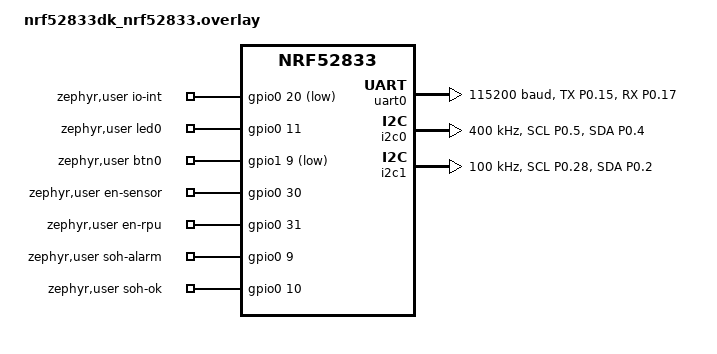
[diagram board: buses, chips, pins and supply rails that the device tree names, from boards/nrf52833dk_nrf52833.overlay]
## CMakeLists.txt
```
cmake_minimum_required(VERSION 3.20.0)
find_package(Zephyr REQUIRED HINTS $ENV{ZEPHYR_BASE})
project(sensor_board_fw)

zephyr_include_directories(include)

FILE(GLOB app_sources src/*.c)
target_sources(app PRIVATE ${app_sources})
```

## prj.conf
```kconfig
# Console / Logging
CONFIG_CONSOLE=y
CONFIG_UART_CONSOLE=y
CONFIG_PRINTK=y
CONFIG_LOG=y
CONFIG_SERIAL=y

# Zephyr Shell (UART 백엔드)
CONFIG_SHELL=n
CONFIG_SHELL_BACKEND_SERIAL=n
CONFIG_SHELL_STACK_SIZE=4096

# flash r/w
CONFIG_FLASH=y
CONFIG_FLASH_MAP=y
CONFIG_MPU_ALLOW_FLASH_WRITE=y
CONFIG_PM_DEVICE=y


CONFIG_LOG_MODE_DEFERRED=y
CONFIG_LOG_DEFAULT_LEVEL=3
CONFIG_LOG_RUNTIME_FILTERING=y
CONFIG_LOG_PROCESS_THREAD_STACK_SIZE=2048

# BLE (Broadcaster only, non-connectable)
CONFIG_BT=y
CONFIG_BT_EXT_ADV=y
CONFIG_BT_BROADCASTER=y
CONFIG_BT_CTLR_PHY_2M=y
CONFIG_BT_DEVICE_NAME="ARX-AT100"
# 확장 광고 데이터 최대 길이 설정 (mfg_data가 37바이트이므로 31바이트 이상 필요)
CONFIG_BT_CTLR_ADV_DATA_LEN_MAX=64

# 레거시 주변기기(Connectable Peripheral) 기능은 끈다
CONFIG_BT_PERIPHERAL=y
CONFIG_BT_CENTRAL=n
CONFIG_BT_CTLR_PHY_CODED=y
CONFIG_BT_CTLR_ADV_EXT=y


# CONFIG_BT_CTLR_TX_PWR_PLUS_4=y  (+4 dBm)
# CONFIG_BT_CTLR_TX_PWR_0=y       (0 dBm)
# CONFIG_BT_CTLR_TX_PWR_PLUS_8=y  (+8 dbm)
CONFIG_BT_CTLR_TX_PWR_PLUS_8=y  (+8 dbm)


# Timers / Work
CONFIG_SYSTEM_WORKQUEUE_STACK_SIZE=2048

# I2C / Sensor / ADC
CONFIG_I2C=y
CONFIG_ADC=y
CONFIG_ADC_NRFX_SAADC=y
CONFIG_NRFX_SAADC=y

# Zephyr 센서 서브시스템 활성화
CONFIG_SENSOR=y
# nRF5x MCU 내부 온도 센서 드라이버 활성화 (NCS v3.1.0 기준)
CONFIG_TEMP_NRF5=y
# float 형 출력을 위한 설정
CONFIG_CBPRINTF_FP_SUPPORT=y
CONFIG_CMSIS_DSP=y
CONFIG_CMSIS_DSP_TRANSFORM=y
CONFIG_CMSIS_DSP_COMPLEXMATH=y


# System OFF 진입 허용
CONFIG_PM=y
CONFIG_PM_DEVICE=y

# Watchdog
CONFIG_WATCHDOG=y
CONFIG_WDT_DISABLE_AT_BOOT=n
```

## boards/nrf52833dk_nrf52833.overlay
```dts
/ {
    aliases {
        i2c0 = &i2c0;
        uart0 = &uart0;
    };

    /* 콘솔 강제 지정 */
    chosen {
        zephyr,console = &uart0;
        zephyr,shell-uart = &uart0;
    };

    zephyr,user {
        io-int-gpios     = <&gpio0 20 GPIO_ACTIVE_LOW>;
        led0-gpios       = <&gpio0 11 GPIO_ACTIVE_HIGH>;
        btn0-gpios       = <&gpio1 9 GPIO_ACTIVE_LOW>;
        en-sensor-gpios  = <&gpio0 30 GPIO_ACTIVE_HIGH>;
        en-rpu-gpios     = <&gpio0 31 GPIO_ACTIVE_HIGH>;
        soh-alarm-gpios  = <&gpio0 9 GPIO_ACTIVE_HIGH>;
        soh-ok-gpios     = <&gpio0 10 GPIO_ACTIVE_HIGH>;
        ntc-ain = <1>; /* SAADC AIN1 = P0.03 */
    };
};

/* ===== pinctrl: 기존 보드 노드 제거 후, 새 노드로 지정 ===== */
&uart0 {
    status = "okay";
    current-speed = <115200>;
    /* HW 플로우컨트롤 사용 안 함 (CTS/RTS 비활성화) */
    hw-flow-control;
    /delete-property/ hw-flow-control; /* <- 위 줄을 지우고 이 줄로 '없음' 상태를 확정 */

    /* 기존 보드의 pinctrl 참조 제거 */
    /delete-property/ pinctrl-0;
    /delete-property/ pinctrl-1;
    /delete-property/ pinctrl-names;

    pinctrl-0 = <&uart0_my_default>;
    pinctrl-1 = <&uart0_my_sleep>;
    pinctrl-names = "default", "sleep";
};

&pinctrl {
    uart0_my_default: uart0_my_default {
        group1 {
            psels = <NRF_PSEL(UART_TX, 0, 15)>,   /* TX=P0.15 */
                    <NRF_PSEL(UART_RX, 0, 17)>;   /* RX=P0.17 */
            bias-pull-up;                         /* RX 약풀업 */
        };
    };

    uart0_my_sleep: uart0_my_sleep {
        group1 {
            psels = <NRF_PSEL(UART_TX, 0, 15)>,
                    <NRF_PSEL(UART_RX, 0, 17)>;
            low-power-enable;
        };
    };

    i2c0_default: i2c0_default {
        group1 {
            psels = <NRF_PSEL(TWIM_SCL, 0, 5)>,   /* SCL=P0.05 */
                    <NRF_PSEL(TWIM_SDA, 0, 4)>;   /* SDA=P0.04 */
            bias-pull-up;
        };
    };

    i2c0_sleep: i2c0_sleep {
        group1 {
            psels = <NRF_PSEL(TWIM_SCL, 0, 5)>,
                    <NRF_PSEL(TWIM_SDA, 0, 4)>;
            low-power-enable;
            bias-disable;
        };
    };
	
	i2c1_default: i2c1_default {
        group1 {
            // ★ 여기는 실제 회로에서 LTC3337 으로 나간 SCL/SDA 핀 번호로 맞춰야 함
            psels = <NRF_PSEL(TWIM_SCL, 0, 28)
                     NRF_PSEL(TWIM_SDA, 0, 2)>;
        };
    };

    i2c1_sleep: i2c1_sleep {
        group1 {
            psels = <NRF_PSEL(TWIM_SCL, 0, 28)
                     NRF_PSEL(TWIM_SDA, 0, 2)>;
            low-power-enable;
        };
    };	
};

&i2c0 {
    status = "okay";
    clock-frequency = <I2C_BITRATE_FAST>; /* 400 kHz */
    pinctrl-0 = <&i2c0_default>;
    pinctrl-1 = <&i2c0_sleep>;
    pinctrl-names = "default", "sleep";
};

&i2c1 {
    status = "okay";
    clock-frequency = <I2C_BITRATE_STANDARD>;

    pinctrl-0 = <&i2c1_default>;
    pinctrl-1 = <&i2c1_sleep>;
    pinctrl-names = "default", "sleep";
};



/* GPIO 컨트롤러 켜기 */
&gpio0 { status = "okay"; };
&gpio1 { status = "okay"; };
```

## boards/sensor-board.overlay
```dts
/ {
    aliases {
        i2c0 = &i2c0;
        uart0 = &uart0;
    };

    /* 콘솔 강제 지정 */
    chosen {
        zephyr,console = &uart0;
        zephyr,shell-uart = &uart0;
    };

    zephyr,user {
        io-int-gpios     = <&gpio0 20 GPIO_ACTIVE_LOW>;
        led0-gpios       = <&gpio0 11 GPIO_ACTIVE_HIGH>;
        btn0-gpios       = <&gpio1 9 GPIO_ACTIVE_LOW>;
        en-sensor-gpios  = <&gpio0 30 GPIO_ACTIVE_HIGH>;
        en-rpu-gpios     = <&gpio0 31 GPIO_ACTIVE_HIGH>;
        soh-alarm-gpios  = <&gpio0 9 GPIO_ACTIVE_HIGH>;
        soh-ok-gpios     = <&gpio0 10 GPIO_ACTIVE_HIGH>;
        ntc-ain = <1>; /* SAADC AIN1 = P0.03 */
    };
};

/* ===== pinctrl: 기존 보드 노드 제거 후, 새 노드로 지정 ===== */
&uart0 {
    status = "okay";
    current-speed = <115200>;
    /* HW 플로우컨트롤 사용 안 함 (CTS/RTS 비활성화) */
    hw-flow-control;
    /delete-property/ hw-flow-control; /* <- 위 줄을 지우고 이 줄로 '없음' 상태를 확정 */

    /* 기존 보드의 pinctrl 참조 제거 */
    /delete-property/ pinctrl-0;
    /delete-property/ pinctrl-1;
    /delete-property/ pinctrl-names;

    pinctrl-0 = <&uart0_my_default>;
    pinctrl-1 = <&uart0_my_sleep>;
    pinctrl-names = "default", "sleep";
};

&pinctrl {
    uart0_my_default: uart0_my_default {
        group1 {
            psels = <NRF_PSEL(UART_TX, 0, 15)>,   /* TX=P0.15 */
                    <NRF_PSEL(UART_RX, 0, 17)>;   /* RX=P0.17 */
            bias-pull-up;                         /* RX 약풀업 */
        };
    };

    uart0_my_sleep: uart0_my_sleep {
        group1 {
            psels = <NRF_PSEL(UART_TX, 0, 15)>,
                    <NRF_PSEL(UART_RX, 0, 17)>;
            low-power-enable;
        };
    };

    i2c0_default: i2c0_default {
        group1 {
            psels = <NRF_PSEL(TWIM_SCL, 0, 5)>,   /* SCL=P0.05 */
                    <NRF_PSEL(TWIM_SDA, 0, 4)>;   /* SDA=P0.04 */
            bias-pull-up;
        };
    };

    i2c0_sleep: i2c0_sleep {
        group1 {
            psels = <NRF_PSEL(TWIM_SCL, 0, 5)>,
                    <NRF_PSEL(TWIM_SDA, 0, 4)>;
            low-power-enable;
            bias-disable;
        };
    };
};

&i2c0 {
    status = "okay";
    clock-frequency = <I2C_BITRATE_FAST>; /* 400 kHz */
    pinctrl-0 = <&i2c0_default>;
    pinctrl-1 = <&i2c0_sleep>;
    pinctrl-names = "default", "sleep";
};

/* GPIO 컨트롤러 켜기 */
&gpio0 { status = "okay"; };
&gpio1 { status = "okay"; };
```

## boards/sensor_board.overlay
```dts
/ {
    aliases {
        i2c0 = &i2c0;
        uart0 = &uart0;
    };

    zephyr,user {
        io-int-gpios = <&gpio0 20 GPIO_ACTIVE_LOW>;
        led0-gpios = <&gpio0 11 GPIO_ACTIVE_HIGH>;
        btn0-gpios = <&gpio1 9 GPIO_ACTIVE_LOW>;
        en-sensor-gpios = <&gpio0 30 GPIO_ACTIVE_HIGH>;
        en-rpu-gpios = <&gpio0 31 GPIO_ACTIVE_HIGH>;
        soh-alarm-gpios = <&gpio0 9 GPIO_ACTIVE_HIGH>;
        soh-ok-gpios = <&gpio0 10 GPIO_ACTIVE_HIGH>;
        ntc-ain = <1>; /* SAADC AIN1 = P0.03 */
    };
};

&uart0 {
    current-speed = <115200>;
    status = "okay";
};

&i2c0 {
    status = "okay";
    clock-frequency = <I2C_BITRATE_FAST>; /* 400k */
};

/* GPIO default states */
&gpio0 { status = "okay"; };
&gpio1 { status = "okay"; };
```

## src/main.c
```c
/** 
button     
	- 1초 미만 리셋
	- 2~10초  10초간 스캔응답 모드  (스캔응답중 LED 1초간격 브링크)
	- 10초 이상 캘리브레이션 (LED 200ms 간격 3회반복)
	
전원 최초 기동시
	- i2c 초기화
	- dip sw 읽음 (이후 wakeup 시는 기존 읽은 정보사용)
	- 센서 상태 정상 시 LED 500ms 1회, 오류 시 500ms 2회

기타
	- 외부 전원시 전원상태를 200% 로 보고
	- bat 는 10분 마다 읽기
	- bat 용량을 17000ma 로,  프로스케일러값을 3으로
	- gpio 안쓰는 포트는 pull down
	- code8 인 경우 scan 응답모드인 경우 phy 를 1M 로 변경
	
	

dip switch 
    1-3 model			1번부터 1,2,4 사용자기준 비트배열
	4   model sub		0=
    5   통신거리		0=1M, 1=code8
    6   송신주기		배터리 (0=30초 1=10초),  어댑터(0=5초, 1=1초)
    7   전원			1=배터리, 0=어댑터
    8   legacy 호환		0=신형, 1=구형
	

dip sw (bit little endian 방식)
0 1 2 3 4 5 6 7  
----- +------------ sub
   +--------------- id

15	1111	inlet	  	XGZP6897D010KPDPN(1000h2o)	0x58
7	1110				SSCDJNN100MD2A3(1020h2o)	0x28

14	0111	outlet		XGZP6897D010KPDPN(1000h2o)	0x58
6	0110				SSCDJNN100MD2A3(1020h2o)	0x28

13	1011	air header	XGZP6847DC001MPGPN -1~10bar 0x6d
5	1010				SSCDJNN010BA2A3 0~10 bar	0x28

12	0011	air flow	XGZP6897D001KPDPN 100mmh2o	0x58
4	0010				SSCDJNN002ND2A3 59,8 mmh2o	0x28

3	110x	ntc			10k ntc
11

10	0101	가속도  4g								0x6a	
2	0100	가속도 16g
	
9	1001	속도	4g								0c6a
1	1000	속도   16g


en_sensor 	보드i2c, 외부i2c, ntc, 가속도
en_dipsw	dipsw,   
			bat칩 상시전원

가속도는 10~1000Hz ms2  의 rms, peak 값으로
속도는   10~1000Hz mmps 의 rms, peak 값으로 
*/

#include <zephyr/bluetooth/bluetooth.h> 
#include <zephyr/kernel.h>
#include <zephyr/sys/byteorder.h>
#include <zephyr/sys/printk.h>
#include <zephyr/logging/log.h>
#include <zephyr/sys/atomic.h>
#include <zephyr/drivers/watchdog.h> 
#include "gpio_if.h"
#include "dip_switch.h"
#include "ltc3337.h"
#include "sensors.h"
#include "ble_adv.h"
#include "debug.h"
#include "app_diag.h"
#include "sleep_if.h"
#include "xgzp6897d.h"
#include "ntc.h"
#include "lsm6dso.h"
#include "wdt.h" 


LOG_MODULE_REGISTER(app, LOG_LEVEL_INF);

/**
 * @brief Manufacturer Specific Data를 담는 구조체 변수를 초기화합니다.
 */
static struct sensor_adv_data_t mfg_data = {    // 0xFFFF를 Little Endian으로 변환하여 저장
    .company_id = sys_cpu_to_le16(0xFFFF), 		/* [Index 5-6] Company ID */
    .structure_version = 0x01,             		/* [Index 7] Version v1 */
    .model_code = 0x01,                    		/* [Index 8] Model Code (Inlet 압력) */

    // 상태 관리 정보
    .device_status = 0x00,       				/* [Index 9] Device Status (정상) */
    .error_info = 0x00,          				/* [Index 10] Error Info */
    .mcu_temperature = 25,       				/* [Index 11] MCU Temperature (예: 25°C) */
    .battery_percent = 95,       				/* [Index 12] Battery % (예: 95%) */
    .value_presence_mask = 0x01, 				/* [Index 13] Inlet 압력은 Sensor Value 1만 사용 (0b00000001) */

    // 센서 값 (압력 값 10.25 mmH2O를 100배하여 1025로 변환)
    .sensor_value_1 = sys_cpu_to_le32(1025), 	/* [Index 14-17] Sensor Value 1 (압력 값) */

    // 나머지 미사용 값은 0x00으로 설정됨
    .sensor_value_2 = 0, /* [Index 18-21] 미사용 */
    .sensor_value_3 = 0, /* [Index 22-25] 미사용 */
    .sensor_value_4 = 0, /* [Index 26-29] 미사용 */
    .sensor_value_5 = 0, /* [Index 30-33] 미사용 */
    .sensor_value_6 = 0, /* [Index 34-37] 미사용 */
};

struct k_work_delayable loop_work;
static struct k_work_delayable led_work;
static struct k_work_delayable adv_stop_work;
struct Status Stat = {0, 2, 500, 2, false, 0};
struct flash_data cfg;					// bat 측정값(10분간격 확인), 가속도 캘리브레이션 값

uint64_t wakeup_time;

static uint32_t g_reset_reason;
static bool g_need_report = false;


int flash_init(void);
int flash_read_data();
int flash_write_data();
void Set_Value ();
void get_sensor_data();
void led_blink (int slp);
static void adv_stop_fn(struct k_work *work);
void set_led_err();

//-------------------------------------------------------------------------
static void check_reset_reason(void)
{
    g_reset_reason = NRF_POWER->RESETREAS;

    // DOG 비트 확인 (WDT 리셋 여부)
    if (g_reset_reason & POWER_RESETREAS_DOG_Msk)
    {
        g_need_report = true;
    }

    NRF_POWER->RESETREAS = g_reset_reason;
	
	mfg_data.device_status |= 0x01;			// WDT 발생
}
/* --------------------------------- 디버그용 --------------------------------- */
void debug_run_code(void)
{
    // while (1) {
    power_sensor(true);
    k_sleep(K_MSEC(35)); // 센서 안정화

    float pressure_pa = 0.0f;
    float temperature_c = 0.0f;

    /* TODO: 사용 중인 센서 타입으로 바꿔서 테스트
     * - XGZP6897D001KPDPN : XGZP6897_RANGE_001K
     * - XGZP6897D010KPDPN : XGZP6897_RANGE_010K
     */
    xgzp6897_range_t range = XGZP6897_RANGE_001K; /* 필요 시 010K로 변경 */

    int ret = read_xgzp6897_filtered(range, &pressure_pa, &temperature_c, true);
    if (ret == 0)
    {
        /* Pa → mmH2O 로도 같이 보고 싶으면 아래 변환 사용 */
        float pressure_mmH2O = pressure_pa / 9.80665f;

        LOG_INF("XGZP6897D: P = %.3f Pa (%.3f mmH2O), T = %.2f C", (double)pressure_pa, (double)pressure_mmH2O, (double)temperature_c);
    }
    else
    {
        LOG_ERR("xgzp6897_read_measurement failed, err=%d", ret);
    }

    /* 1초 대기 */
    k_sleep(K_SECONDS(1));
    // }
}
//--------------------------------------------------------------------------
static void led_fn(struct k_work *w)
{
    if (app_is_hold()) // BLE 일시정지 상태, 디버깅용
    {
		k_work_reschedule(&led_work, K_MSEC(50));
        return;
    }

	if (Stat.Led_Cnt) 
		{
		--Stat.Led_Cnt;
		k_work_reschedule(&led_work, K_MSEC(Stat.Led_Interval));
		if (Stat.Led_Cnt % 2)
			board_led_set(1);
		else
			board_led_set(0);
		}
	else
		{
		if (Stat.Complete)
			{
			k_work_schedule(&loop_work, K_SECONDS(Stat.Sleep_Sec));
 			Start_Sleep(Stat.Sleep_Sec);
			}
		else
			{
			k_work_reschedule(&led_work, K_MSEC(50));
			}
		}
}
/**
 7 6 5  4   3 2 1 0 
 -----  -   - 
 765  	model 
 4		sub       0=
 3		phy		  0=code8,  1=1M	
 2		interval  Bat 1=30, 0=10,  AC 1=5, 0=1
 1		power	  0=AC,  1=Bat	
 0		legacy
 


1000  속소16g
0100  가속도16
1100  ntc
0010  SSCDJNN002ND2A3
1010  SSCDJNN010BA2A3
0110  SSCDJNN100MD2A3
1110  SSCDJNN100MD2A3
1001  속도4
0101  가속도4
0011  XGZP6897D001KPDPN
1011  XGZP6847DC001MPGPN
0111  XGZP6897D010KPDPN
1111  XGZP6897D010KPDPN

 
 
 */
//---------------------------------------------------------------------- 
static void loop_fn(struct k_work *w)
{
uint8_t pass=false, scan=false;
static uint16_t  Bat_Timer = 0;

	wdt_feed_dog();     /* ← 루프 진입 즉시 feed (가장 중요) */

	wakeup_time = k_uptime_get();
	printk("\r\n\r\n%llu Wakeup ID=%u \r\n", wakeup_time, Stat.Dipsw & 0x0f);    

	Wakeup();

	check_reset_reason();						//  WDT 확인
	
	btn_evt_t btn = Get_BtnStatus();
	
	Stat.Complete = false;
	
    switch (btn)
		{
		case BTN_EVT_LONG:						// 10초 이상
			printk("\r\nLong button -> Calibration");
			Stat.Led_Interval = 250;			// 캘리브레이션 
			Stat.Led_Cnt = 6;					// 3회 브링크
			Set_Calibration (Stat.Dipsw & 0x0f);
			pass = true;
			break;
		
		case BTN_EVT_SHORT:						// 2~10초 미만
			printk("\r\nShort button -> Scan Start");
			Stat.Led_Interval = 1000;			// 스캔 중 1초간격
			Stat.Led_Cnt = 10;					// 5회 브링크
			scan = true;						// scan 동작
			break;

		default:
			Stat.Led_Interval = 50;
			Stat.Led_Cnt = 2;					// 1회 브링크
			break;
		}
	
	k_work_reschedule(&led_work, K_MSEC(10));		// 바로 실행

	ble_setup ((Stat.Dipsw&0x10)>>4, scan);		// phy 0=code8, 1=1M

	if (pass || scan) goto Sleep_start;

    get_sensor_data();
	
//    debug_run_code();

    if (!app_is_hold()) // BLE 정지, 디버깅용
		{
		Tx_Ble((const uint8_t *)&mfg_data, sizeof(mfg_data));
		 k_work_reschedule(&adv_stop_work, K_SECONDS(5));
		}

	if (g_need_report)		// wdt 발생시 전송후 리셋	
       {
       k_msleep(100); 	// 안정성용 (옵션)
       NVIC_SystemReset(); 	// ★ 여기서 리셋
	   }

	Bat_Timer += Stat.Sleep_Sec;
	if (Bat_Timer > 70 && Stat.Dipsw & 0x40)	// 70sec 마다 Bat 확인  (Bat 동작)
		{
		printk ("Bat Checking\r\n");
		Bat_Timer = 0;
		mfg_data.battery_percent = Bat_Percent();	// 보고용 배터리 잔량계산	

		if (mfg_data.battery_percent <= 10)
		mfg_data.device_status |= 0x02;				// 베터리 10% 미만
		}

Sleep_start:
	Stat.Complete = true;
}
//--------------------------------------------------------------------
// 15회 전송후 자동종료해야하는 전송 시작시간이 늦어지면 중지가 안되 4초후 중지
static void adv_stop_fn(struct k_work *work)
{
    Ble_Stop ();				
}
//-------------------------------------------------------------------
int main(void)
{
    
	NRF_POWER->DCDCEN = 1;		// DCDC 기능 사용  항상on 
	Stat.Led_Interval = 500;	// 처음 led 정상은 500 msec 1회
	wdt_init();
	
	if (board_gpio_init())
		{
		printk("Err gpio\n");
		set_led_err();
		}
   
	if (Get_Switch(&Stat.Dipsw, NULL))
		{
		printk("Err Dip Switch\n");
		set_led_err();
		}

    if (Init_Sensor())
		{
		printk("Err init_Sensor\n");
		set_led_err();
		}

	if (ltc3337_init ())
		{
//		printk("Err LTC1337 init\n");
//		set_led_err();
		}
	
	if (bt_enable(NULL))  
		{
		printk("Err bt_enable\n");
		set_led_err();
		}
    	
    if (ble_adv_ext_init())
		{
		printk("Err ble_adv_ext_init\n");
		set_led_err();
		}
    	
	k_work_init_delayable(&adv_stop_work, adv_stop_fn);		
//	flash_init();					
//  flash_read_data();					// config Read

	Set_Value();						// dipsw 값으로 광고정보 초기화
		
    /* 디버깅 코드 실행 */
//    debug_run_startup();


	get_sensor_data();					// 센서가 정상인지 감지하여 LED 표시
	if (mfg_data.device_status & 0x08) 
		{	
		printk("Sensor Err\n");
		set_led_err();
		}


    k_work_init_delayable(&led_work, led_fn);
    k_work_schedule(&led_work, K_MSEC(200));

    k_work_init_delayable(&loop_work, loop_fn);
    k_work_schedule(&loop_work, K_SECONDS(2));
	return 0;
}
//--------------------------------------------------------------------------
void set_led_err()
{
	Stat.Led_Interval = 200;
	Stat.Led_Cnt = 4;
}



/*--------------------------------------------------------------------------
dip sw (bit little endian 방식)
0 1 2 3 4 5 6 7  
----- +------------ sub
   +--------------- id

15	1111	inlet	  	XGZP6897D010KPDPN(1000h2o)	0x58
7	1110				SSCDJNN100MD2A3(1020h2o)	0x28

14	0111	outlet		XGZP6897D010KPDPN(1000h2o)	0x58
6	0110				SSCDJNN100MD2A3(1020h2o)	0x28

13	1011	air header	XGZP6847DC001MPGPN -1~10bar 0x6d
5	1010				SSCDJNN010BA2A3 0~10 bar	0x28

12	0011	air flow	XGZP6897D001KPDPN 100mmh2o	0x58
4	0010				SSCDJNN002ND2A3 59,8 mmh2o	0x28

3	110x	ntc			10k ntc
11

10	0101	가속도  4g								0x6a	
2	0100	가속도 16g
	
9	1001	속도	4g								0c6a
1	1000	속도   16g


extern lsm6dso_stats_t g_lsm6dso_stats;
//----------------------- Sensor & Main Loop ---------------------------------*/
void get_sensor_data()
{
static uint8_t check_cnt = 10;

	mfg_data.value_presence_mask = 0x01;					// 어떤값이 유효한지 디폴

	switch (Stat.Dipsw & 0x0f)
		{
		case 1  :										// 속도 16g
		case 9  :										// 속도 4g
			lsm6dso_init();
			if (Get_Imu_Value (Stat.Dipsw & 0x0f) < 0)
				mfg_data.sensor_value_1 = -1;
			else
				{
				mfg_data.sensor_value_1 = g_lsm6dso_stats.bl_peak_mmps_x100[0];
				mfg_data.sensor_value_2 = g_lsm6dso_stats.bl_peak_mmps_x100[1];
				mfg_data.sensor_value_3 = g_lsm6dso_stats.bl_peak_mmps_x100[2];
				mfg_data.sensor_value_4 = g_lsm6dso_stats.bl_rms_mmps_x100[0];
				mfg_data.sensor_value_5 = g_lsm6dso_stats.bl_rms_mmps_x100[1];
				mfg_data.sensor_value_6 = g_lsm6dso_stats.bl_rms_mmps_x100[2];
				mfg_data.value_presence_mask = 0x3f;
				}
			
			printk ("Vel-%s Peak=%d,%d,%d  RMS=%d,%d,%d\n", 
			((Stat.Dipsw&0x0f) == 9) ? "4g" : "16g", 
			mfg_data.sensor_value_1,mfg_data.sensor_value_2,mfg_data.sensor_value_3,
			mfg_data.sensor_value_4,mfg_data.sensor_value_5,mfg_data.sensor_value_6);
			break;

		case 2  :										// 가속도 16g
		case 10 :										// 가속도 4g
			lsm6dso_init();
			if (Get_Imu_Value (Stat.Dipsw & 0x0f) < 0)
				mfg_data.sensor_value_1 = -1;
			else
				{
				mfg_data.sensor_value_1 = g_lsm6dso_stats.bl_peak_ms2_x100[0];
				mfg_data.sensor_value_2 = g_lsm6dso_stats.bl_peak_ms2_x100[1];
				mfg_data.sensor_value_3 = g_lsm6dso_stats.bl_peak_ms2_x100[2];
				mfg_data.sensor_value_4 = g_lsm6dso_stats.bl_rms_ms2_x100[0];
				mfg_data.sensor_value_5 = g_lsm6dso_stats.bl_rms_ms2_x100[1];
				mfg_data.sensor_value_6 = g_lsm6dso_stats.bl_rms_ms2_x100[2];
				mfg_data.value_presence_mask = 0x3f;
				}
			printk ("Acc-%s Peak=%d,%d,%d  RMS=%d,%d,%d\n", 
			((Stat.Dipsw&0x0f) == 10) ? "4g" : "16g", 
			mfg_data.sensor_value_1,mfg_data.sensor_value_2,mfg_data.sensor_value_3,
			mfg_data.sensor_value_4,mfg_data.sensor_value_5,mfg_data.sensor_value_6);
			break;

		case 3	:										// ntc
		case 11	:
			mfg_data.sensor_value_1 = Get_Sensor_Value(3);
			printk ("temp = %d\n", mfg_data.sensor_value_1);
			break;
		case 4  :										// air flow SSCDJNN002ND2A3 59,8 mmh2o		0x28
			mfg_data.sensor_value_1 = Get_Sensor_Value(4);
			break;
		case 12 :										// air flow XGZP6897D001KPDPN 100mmh2o		0x58
			mfg_data.sensor_value_1 = Get_Sensor_Value(12);
			break;
		case 5  :										// air header SSCDJNN010BA2A3 0~10 bar		0x28
			mfg_data.sensor_value_1 = Get_Sensor_Value(5);
			break;
		case 13 :										// air header XGZP6847DC001MPGPN -1~10bar 	0x6d
			mfg_data.sensor_value_1 = Get_Sensor_Value(13);
			break;
		case 6  :										// outlet SSCDJNN100MD2A3(1020h2o)			0x28
			mfg_data.sensor_value_1 = Get_Sensor_Value(6);
			break;
		case 14 :										// outlet XGZP6897D010KPDPN(1000h2o)		0x58
			mfg_data.sensor_value_1 = Get_Sensor_Value(14);
			break;
		case 7  :										// inlet  SSCDJNN100MD2A3(1020h2o)			0x28
			mfg_data.sensor_value_1 = Get_Sensor_Value(7);
			break;
		case 15 :										// inlet  XGZP6897D010KPDPN(1000h2o)		0x58
			mfg_data.sensor_value_1 = Get_Sensor_Value(15);		
			break;
			
		default :
			mfg_data.value_presence_mask = 0x00;					// 없으면 에러로		
		}
	
/*
bit 0 	wdt 리셋발생시
bit 1   배터리 10% 이하
bit 2   배터리 칩셋에러
bit 3   센서연결불량
bit 4   과열 80도 이상
*/
	if (mfg_data.sensor_value_1 < 0)
		mfg_data.device_status = 0x08;			// 센서에러 
	else	
		mfg_data.device_status = 0x00;			// 정상
	
	mfg_data.error_info    = 0x00;							// Error info
  
//	if (++check_cnt > 10)
//		{
//		check_cnt = 0;
		Get_MCU_Temperature (&mfg_data.mcu_temperature);  	// MCU 온도 및 배터리 업데이트 (8-bit)
		
		if (mfg_data.mcu_temperature >= 80)
			mfg_data.device_status |= 0x10;			// 과열
//		}
}

//  0000 1 sec
//  0100 5	
//  0010 10 
//  0110 30 
//    +------------ power 0=ac 1=bat
//-------------------------------------------------------------------------------------
void Set_Value ()
{
uint8_t v=0;

	switch (Stat.Dipsw & 0x60)
		{
		case 0x00 : Stat.Sleep_Sec = 1; break;	
		case 0x20 : Stat.Sleep_Sec = 5; break;	
		case 0x40 : Stat.Sleep_Sec = 10; break;
		case 0x60 : Stat.Sleep_Sec = 30; break;
		}

	switch (Stat.Dipsw & 0x0f)
		{
		case 1  :	v=0x71;  break;					// 속도 16g
		case 9  :	v=0x70;  break;					// 속도 4g
		case 2  :	v=0x61;  break;					// 가속도 16g
		case 10 :	v=0x60;  break;					// 가속도 4g
		case 3	:	
		case 11	:	v=0x50;  break;	
		case 4  :	v=0x41;  break;					// air flow SSCDJNN002ND2A3 59,8 mmh2o		0x28
		case 12 :	v=0x40;  break;					// air flow XGZP6897D001KPDPN 100mmh2o		0x58
		case 5  :	v=0x31;  break;					// air header SSCDJNN010BA2A3 0~10 bar		0x28
		case 13 :	v=0x30;  break;					// air header XGZP6847DC001MPGPN -1~10bar 	0x6d
		case 6  :	v=0x21;  break;					// outlet SSCDJNN100MD2A3(1020h2o)			0x28
		case 14 :	v=0x20;  break;					// outlet XGZP6897D010KPDPN(1000h2o)		0x58
		case 7  :	v=0x11;  break;					// inlet  SSCDJNN100MD2A3(1020h2o)			0x28
		case 15 :	v=0x10;  break;					// inlet  XGZP6897D010KPDPN(1000h2o)		0x58
		}		
	Stat.Model = v;
	mfg_data.model_code = v;
	mfg_data.structure_version = 0x01;

	if (Stat.Dipsw & 0x40)
		mfg_data.battery_percent = cfg.bat_value;
	else	
		mfg_data.battery_percent = 200;		// ac 면 200%
}
```

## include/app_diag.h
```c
#pragma once
#include <stdbool.h>
#include <zephyr/sys/atomic.h>
#include <stdatomic.h>
#ifdef __cplusplus
extern "C" {
#endif

/**
 * @file app_diag.h
 * @brief 애플리케이션 진단/홀드 제어 인터페이스
 */

extern atomic_t g_diag_log_on; /**< 진단 로그 on/off 전역 플래그 */

/**
 * @brief 현재 진단 로그가 활성화되었는지 여부
 * @return true면 로그 활성화
 */
bool diag_on(void);

/**
 * @brief 광고/주기 제어용 홀드(일시정지) 상태 설정
 * @param on true면 홀드 활성화
 */
void app_set_hold(bool on);

/**
 * @brief 광고/주기 제어용 홀드(일시정지) 상태 조회
 * @return true면 홀드 중
 */
bool app_is_hold(void);

/**
 * @brief 진단 로그 on/off 전역 스위치 조회
 * @return true면 로그 활성화
 */
bool app_diag_log_is_enabled(void);

/**
 * @brief 진단 로그 on/off 전역 스위치 설정
 * @param en true면 로그 활성화
 */
void app_diag_log_enable(bool en);

#ifdef __cplusplus
}
#endif
/* end of app_diag.h */
```

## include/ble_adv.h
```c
#pragma once
/**
 * @file ble_adv.h
 * @brief BLE 광고 데이터 구조와 제어 인터페이스 선언
 */
#include <zephyr/kernel.h>
#include <stddef.h>
#include <stdint.h>
#include <stdbool.h>

#include <zephyr/sys/byteorder.h>
#include <stdint.h>

/**
 * @brief BLE Advertising Data - Manufacturer Specific Data Payload 구조체
 *
 * 이 구조체는 AD Type(0xFF) 뒤에 오는 Manufacturer Specific Data의 내용입니다.
 * 총 길이: 33 Bytes (Index 5 ~ 37)
 */
struct __packed sensor_adv_data_t {
    /* ---------------- AD Structure 2: 헤더 및 상태 관리 (9 Bytes) ---------------- */
    /** @brief [Index 5-6] Company ID (Little Endian)
     * @details Bluetooth SIG Company ID (0xFFFF) 
     */
    uint16_t company_id;
    uint8_t structure_version;
    uint8_t model_code;
	uint8_t device_status;
    uint8_t error_info;
    int8_t mcu_temperature;
    uint8_t battery_percent;
    uint8_t value_presence_mask;
    int32_t sensor_value_1;
    int32_t sensor_value_2;
    int32_t sensor_value_3;
    int32_t sensor_value_4;
    int32_t sensor_value_5;
    int32_t sensor_value_6;
};

struct Status
{
	uint8_t  Dipsw;						// 부팅 후 읽은 딥스위치 값
	uint8_t  Led_Cnt;					// led blink 횟수
	uint16_t Led_Interval;				// LED 브링크 간격
	uint8_t  Sleep_Sec;					// sleep 시간
	uint16_t Complete;					// ble 송신완료 후 sleep 진입확인 flag
	uint16_t Model;	
};



/** @enum ble_init_t
 * @brief ble 초기화 유형
 */
typedef enum
{
    BLE_INIT = 0,  /**<  BLE 초기화 1번 실행 */
    BLE_SCAN_RESPONSE = 1, /**< 스캔 응답 */
    BTN_ADV = 2,  /**< 확장 광고 */
} ble_init_t;


/** @brief BLE 광고 모듈 초기화
 *
 * 블루투스 스택을 활성화하고 확장 광고 세트를 생성합니다.
 *
 * @return 0이면 성공, 음수이면 오류 코드.
 */
int Init_Ble(ble_init_t init_type);
int ble_adv_ext_init(void);
void ble_setup (uint8_t phy, uint8_t scan);

/** @brief Manufacturer 데이터를 설정하고 1회성 광고를 수행합니다.
 *
 * 광고 데이터를 설정하고, Ble_Start() -> k_sleep() -> Ble_Stop()
 * 과정을 내부적으로 처리합니다.
 *
 * @param mfg Manufacturer Specific Data 페이로드 시작 주소.
 * @param mfg_len 페이로드 길이.
 * @return 0이면 성공, 음수이면 오류 코드.
 */
int Tx_Ble(const uint8_t *mfg, size_t mfg_len);

/** @brief 확장 광고를 중지합니다.
 *
 * @return 0이면 성공, 음수이면 오류 코드.
 */
int Ble_Stop(void);

/** @brief 확장 광고를 시작합니다.
 *
 * @return 0이면 성공, 음수이면 오류 코드.
 */
int Ble_Start(void);
```

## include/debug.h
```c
#pragma once
#include <zephyr/kernel.h>

#ifdef __cplusplus
extern "C" {
#endif

/**
 * @file debug.h
 * @brief 진단/디버그 유틸리티 공개 인터페이스
 */

/**
 * @brief 부팅 직후 1회 실행하는 디버그 루틴 묶음
 */
void debug_run_startup(void);

/**
 * @brief I2C0 버스 주소 스캔(0x03..0x77)
 * @retval 0 성공
 * @retval -ENODEV I2C 디바이스 준비 안됨
 */
int i2c_bus_scan(void);

/**
 * @brief LSM6DSO 장치 WHO_AM_I 확인(0x6A)
 * @retval 0 성공(아이디 일치)
 * @retval 음수값 I2C/디바이스 오류
 */
int lsm6dso_probe(void);

/**
 * @brief 진단 로그 on/off 제어
 * @param en true면 로그 활성화
 */
void app_diag_log_enable(bool en);

/**
 * @brief 진단 로그 활성화 여부 조회
 * @return true면 로그 활성화
 */
bool app_diag_log_is_enabled(void);

#ifdef __cplusplus
}
#endif
/* end of debug.h */
```

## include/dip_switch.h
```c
/* dip_switch.h */
#pragma once
#include <stdint.h>

#ifdef __cplusplus
extern "C" {
#endif

/** @file dip_switch.h
 * @brief DIP 스위치 값을 읽고 해석하기 위한 인터페이스 정의 파일
 */

/** @struct dip_bits
 * @brief 8비트 DIP 스위치 값을 용도별 필드로 해석한 구조체
 */
struct dip_bits {
    uint8_t model;     /**< [2:0] 모델/디바이스 ID 비트 (3비트) */
    uint8_t mode_sub;  /**< [3] 모드/서브 모드 비트 (1비트) */
    uint8_t phy;       /**< [4] PHY/하드웨어 설정 비트 (1비트) */
    uint8_t period;    /**< [5] 주기/전송 간격 비트 (1비트) */
    uint8_t pwr;       /**< [6] 전원 관련 설정 비트 (1비트) */
    uint8_t legacy;    /**< [7] 레거시 설정 비트 (1비트) */
};

/** @brief DIP 스위치 값을 I2C로 읽고 해석합니다.
 * @see Get_Switch
 * @param raw DIP 스위치의 Raw 값 (8비트)이 저장될 포인터 (NULL 허용)
 * @param parsed 해석된 dip_bits 구조체가 저장될 포인터 (NULL 허용)
 * @retval 0 성공
 * @retval 음수값 I2C 통신 실패 시 Zephyr 에러 코드
 */
int Get_Switch(uint8_t *raw, struct dip_bits *parsed);

/** @brief DIP 스위치 값을 I2C로 읽고 Raw 값만 반환합니다.
 * @see dip_read_u8
 * @param out_raw DIP 스위치의 Raw 값 (8비트)이 저장될 포인터
 * @retval 0 성공
 * @retval 음수값 읽기 실패 시 Zephyr 에러 코드
 */
int dip_read_u8(uint8_t *out_raw);

/** @brief DIP 스위치 Raw 값을 dip_bits 구조체로 해석하여 반환합니다.
 * @see parse_dip
 * @param v DIP 스위치의 Raw 값 (8비트)
 * @return 해석된 dip_bits 구조체
 */
struct dip_bits parse_dip(uint8_t v);

#ifdef __cplusplus
}
#endif
/* end of dip_switch.h */
```

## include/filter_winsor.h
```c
/**
 * @file filter_winsor.h
 * @brief 윈저라이즈드 평균(노이즈 제거)
 */

#pragma once

#include <stdint.h>

#ifdef __cplusplus
extern "C" {
#endif

/** 윈저라이즈드 평균 기본 설정 */
#define WINSOR_SAMPLES_TOTAL  10U  /**< 전체 샘플 수 */
#define WINSOR_SAMPLES_USED   10U  /**< 정렬 후 사용하는 샘플 수 */

/**
 * @brief 10개 샘플에 대해 윈저라이즈드 평균을 계산한다.
 *
 * 알고리즘:
 *  - 입력 samples[0..10]를 오름차순 정렬
 *  - 하위 10개(0~9 인덱스)를 대상으로:
 *      - 최솟값 2개(0,1)  → 3번째 값(인덱스 2)로 클램프
 *      - 최댓값 2개(8,9)  → 8번째 값(인덱스 7)로 클램프
 *  - 클램프된 10개(0~9)의 전체 평균을 반환
 *
 * @param[in]  samples  길이 10의 float 배열 (입력값은 정렬 과정에서 내부 복사본 사용)
 * @param[out] out_mean 계산된 윈저라이즈드 평균 값 (NULL 허용하지 않음)
 *
 * @retval 0        성공
 * @retval -EINVAL  파라미터 오류 (out_mean == NULL)
 */
int winsor_mean_10f(const float *samples, float *out_mean);

#ifdef __cplusplus
}
#endif
```

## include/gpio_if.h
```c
#pragma once
#include <zephyr/kernel.h>
#include <zephyr/device.h>
#include <zephyr/drivers/gpio.h>
#include <stdbool.h>
#include <stdint.h>
#include <zephyr/fs/nvs.h>
#include <zephyr/storage/flash_map.h>
#include <zephyr/logging/log.h>

/** @file gpio_if.h
 * @brief 보드 GPIO 인터페이스 정의 파일
 */



/** @enum btn_evt_t
 * @brief 버튼 눌림 이벤트 유형
 */
typedef enum
{
    BTN_EVT_NONE = 0,  /**< 이벤트 없음 */
    BTN_EVT_SHORT = 1, /**< 짧게 눌림 */
    BTN_EVT_LONG = 2,  /**< 길게 눌림 */
} btn_evt_t;

/** @struct board_gpio
 * @brief 보드의 모든 GPIO 핀 구조체
 */
struct board_gpio
{
    const struct gpio_dt_spec led;       /**< LED 제어 핀 */
    const struct gpio_dt_spec btn;       /**< 사용자 버튼 핀 (Active-Low) */
    const struct gpio_dt_spec io_int;    /**< IO 인터럽트 출력 핀 */
    const struct gpio_dt_spec en_sensor; /**< 센서 전원 인에이블 핀 */
    const struct gpio_dt_spec en_rpu;    /**< RPU 전원 인에이블 핀 */
    const struct gpio_dt_spec soh_alarm; /**< SOH 알람 입력 핀 */
    const struct gpio_dt_spec soh_ok;    /**< SOH OK 입력 핀 */
};

struct flash_data
{
	uint32_t index;
	uint32_t bat_value;
};


#define FLASH_MAGIC    0x2057     // 데이터 검증용




/** @brief 보드의 모든 GPIO 핀들을 초기화하고 버튼 인터럽트를 설정합니다.
 * @see board_gpio_init
 * @retval 0 성공
 * @retval -ENODEV GPIO 포트 디바이스를 찾을 수 없을 때
 * @retval 음수값 GPIO 설정 또는 인터럽트 설정 실패 시 Zephyr 에러 코드
 */
int board_gpio_init(void);

/** @brief LED 핀의 상태를 설정합니다.
 * @see board_led_set
 * @param on true면 켜짐, false면 꺼짐
 * @retval 0 성공
 * @retval 음수값 실패 시 Zephyr 에러 코드
 */
int board_led_set(bool on);

/** @brief 버튼 핀의 현재 상태를 가져옵니다.
 * @see board_btn_get
 * @return 버튼이 눌렸으면 (Active-Low: 레벨 0) true, 아니면 false
 */
bool board_btn_get(void);

/** @brief io_int 핀에 지정된 시간 동안 펄스(Low->High)를 발생시킵니다.
 * @see io_int_pulse_us
 * @param usec 펄스를 Low 상태로 유지하는 시간 (마이크로초)
 */
void io_int_pulse_us(uint32_t usec);

/** @brief 센서 전원(en_sensor)을 제어합니다.
 * @see power_sensor
 * @param on true면 전원 켜짐(Active), false면 꺼짐(Inactive)
 * @retval 0 성공
 * @retval 음수값 실패 시 Zephyr 에러 코드
 */
int power_sensor(bool on);

/** @brief RPU 전원(en_rpu)을 제어합니다.
 * @see power_rpu
 * @param on true면 전원 켜짐(Active), false면 꺼짐(Inactive)
 * @retval 0 성공
 * @retval 음수값 실패 시 Zephyr 에러 코드
 */
int power_rpu(bool on);

/** @brief SOH_ALARM 핀의 상태를 가져옵니다.
 * @see soh_alarm_get
 * @return 핀 레벨 상태 (0 또는 1)
 */
bool soh_alarm_get(void);

/** @brief SOH_OK 핀의 상태를 가져옵니다.
 * @see soh_ok_get
 * @return 핀 레벨 상태 (0 또는 1)
 */
bool soh_ok_get(void);

/** @brief 발생한 버튼 이벤트 상태를 가져오고 상태를 초기화합니다.
 * @see Get_BtnStatus
 * @return 마지막으로 발생한 버튼 이벤트 (btn_evt_t). 이벤트가 없으면 BTN_EVT_NONE.
 */
btn_evt_t Get_BtnStatus(void);
```

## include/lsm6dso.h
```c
/*
 * lsm6dso.h
 *
 * LSM6DSO 6축 IMU 센서 드라이버 (ISO 10816 / 1024샘플 규격 반영)
 */
#pragma once
#include <zephyr/kernel.h>
#include <stdint.h>
#include <stdbool.h>

#ifdef __cplusplus
extern "C"
{
#endif

    /* FIFO 진단용 버스트 덤프 */
    struct shell;

    typedef struct
    {
        uint16_t n; /* 수집된 샘플 수 (목표: 1024) */

        /* 전체대역 통계 (m/s^2 ×100) */
        int16_t peak_ms2_x100[3];
        int16_t rms_ms2_x100[3];

        /* 10–1000 Hz 대역 제한 통계 (m/s^2 ×100)
         * bl_peak_* 는 PDF식 Equivalent Peak = True RMS * sqrt(2) 값이다.
         */
        int16_t bl_peak_ms2_x100[3];
        int16_t bl_rms_ms2_x100[3];

        /* 10–1000 Hz 속도 (주파수 적분 기반) mm/s ×100
         * bl_peak_* 는 PDF식 Equivalent Peak = True RMS * sqrt(2) 값이다.
         */
        int16_t bl_peak_mmps_x100[3];
        int16_t bl_rms_mmps_x100[3];

        /* 디버그 */
        uint8_t whoami;
        bool wtm_reached;
    } lsm6dso_stats_t;

    typedef enum
    {
        LSM6DSO_SCALE_4G = 4,
        LSM6DSO_SCALE_16G = 16,
    } lsm6dso_scale_t;

    /* 초기화(ODR=3.33kHz, FS=±4g, FIFO=Continuous, WTM=128) */
    int lsm6dso_init(void);

    /* Active Polling으로 1024샘플(128x8) 캡처 후 통계 계산 */
    int lsm6dso_capture_once(lsm6dso_stats_t *out, lsm6dso_scale_t scale);
    int lsm6dso_capture_acc_only(lsm6dso_stats_t *out, lsm6dso_scale_t scale);
    int lsm6dso_capture_vel_only(lsm6dso_stats_t *out, lsm6dso_scale_t scale);

    typedef struct
    {
        float rms_ms2;
        float peak_ms2;
        float rms_mg;
        float peak_mg;
    } lsm6dso_psd_acc_t;

    typedef struct
    {
        float rms_mmps;
        float peak_mmps;
    } lsm6dso_psd_vel_t;

    /* 가속도 오프셋(DC 바이어스) 보정 */
    int set_calibration_lsm6dso(lsm6dso_scale_t scale);
    void clear_calibration_lsm6dso(void);

    /* 레지스터 덤프 */
    struct shell;
    int lsm6dso_dump_regs(const struct shell *shell);

#ifdef __cplusplus
}
#endif
```

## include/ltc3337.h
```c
#pragma once
#include <zephyr/kernel.h>
#include <zephyr/device.h>
#include <zephyr/drivers/i2c.h>
#include <stdbool.h>
#include <stdint.h>

#ifdef __cplusplus
extern "C"
{
#endif

    /**
     * @brief LTC3337 알람/상태 비트
     */
    struct ltc3337_flags
    {
        bool overflow_fault; /**< C[0] ripple-counter overflow/fault (latched) */
        bool coulomb_alarm;  /**< C[1] coulomb counter alarm */
        bool cold_alarm;     /**< C[2] cold temperature alarm */
        bool hot_alarm;      /**< C[3] hot temperature alarm */
    };

    /**
     * @brief LTC3337 배터리/전력 상태
     *
     * - used_mah / used_pct_x100: "누적 사용량"을 현장 스케일 FS(mAh) 기준으로 변환
     * - vbat_*_uv: 12-bit ADC 결과를 uV로 변환한 값
     * - z_uohm: Z ≈ (VBAT_IN(OFF)-VBAT_IN(ON))/IPEAK 를 micro-ohm 근사
     * - die_temp_code: 데이터시트의 온도 코드(변환식 필요 시 추가 가능)
     */
    struct ltc3337_status
    {
        bool bat_ok;          /**< I2C 기반 proxy OK  */
        uint8_t qlsb_code;    /**< prescaler M (A[3:0]) */
        uint32_t mah_used_fs; /**< 누적 사용량(mAh) - FS 기준 환산 */

        /* 설정/스케일 정보 */
        uint8_t ipk_code;       /**< IPK strap code (C[7:5]) */
        uint32_t fs_mah;        /**< Full-scale mAh (프로젝트 테이블 기준) */
        uint32_t used_mah;      /**< mah_used_fs와 동일 */
        uint32_t used_pct_x100; /**< 사용률 [%] * 100 (예: 1234 => 12.34%) */

        /* 알람/상태 */
        struct ltc3337_flags flags;

        /* 전압/온도/임피던스 */
        uint32_t vbat_in_on_uv; /* VBAT_IN을 부하 걸고 측정 한 값 */
        uint32_t vbat_in_off_uv; /* VBAT_IN을 무부하로 측정 한 값 */
        uint32_t vbat_out_on_uv; /* VBAT_OUT을 부하 걸고 측정 한 값 */
        uint32_t vbat_out_off_uv; /* VBAT_OUT을 무부하로 측정 한 값 */

        int32_t z_uohm;        /**< 배터리 임피던스 근사값 */
        uint8_t die_temp_code; /**< die temperature raw code (C[15:8]) */

        /* raw registers (디버깅/로깅용) */
        uint16_t reg_a;
        uint16_t reg_b;
        uint16_t reg_c;
        uint16_t reg_d;
        uint16_t reg_e;
        uint16_t reg_f;
        uint16_t reg_g;
        uint16_t reg_h;
    };

    /**
     * @brief LTC3337 초기화
     * @return 0 on success, negative errno on failure
     */
    int ltc3337_init(void);

    /**
     * @brief LTC3337 상태 읽기
     * @param[out] st 상태 구조체 포인터
     * @return 0 on success, negative errno on failure
     */
    int ltc3337_read_status(struct ltc3337_status *st);

#ifdef __cplusplus
}
#endif
```

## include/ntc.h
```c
#pragma once
#include <zephyr/kernel.h>
#include <stdint.h>


/** @file ntc.h
 * @brief NTC ADC 인터페이스 정의 파일
 */

/** @brief 센서 공통 초기화 (ADC 채널 준비 등).
 * @see Init_ntc
 * @retval 0 성공
 * @retval 음수값 실패 시 Zephyr 에러 코드
 */
int Init_ntc(void);

/** @brief NTC 온도 읽기: 섭씨 × 100 단위로 반환 (예: 25.34°C → 2534)
 * @see read_ntc
 * @param cx100 계산된 온도 (섭씨 × 100)가 저장될 포인터
 * @retval 0 성공
 * @retval 음수값 실패 시 Zephyr 에러 코드
 */
int read_ntc(int16_t *temperature);

/** @brief MCU 내부 온도 센서 값을 읽습니다.
 * @see Get_MCU_Temperature
 * @param t_c MCU 온도 (°C)가 저장될 포인터
 * @retval 0 성공
 * @retval 음수값 실패 시 Zephyr 에러 코드
 */
int Get_MCU_Temperature(int8_t *t_c);
```

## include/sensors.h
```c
#pragma once
#include <zephyr/kernel.h>
#include <stdint.h>
#include "lsm6dso.h"

/* ------------------------------------------------------
 * Sensor ID Definitions (파트명 → 숫자 치환)
 * ------------------------------------------------------ */
/* 온도 (10k NTC) */
#define SENSOR_ID_TEMPERATURE_NTC_2 3
#define SENSOR_ID_TEMPERATURE_NTC_1 11

/* 압력 (Air Flow) */
#define SENSOR_ID_PRESSURE_AIR_FLOW_SSCDJNN002ND 4   /* SSCDJNN002ND2A3  ±50.8 mmH2O */
#define SENSOR_ID_PRESSURE_AIR_FLOW_XGZP6897_001K 12 /* XGZP6897D001KPDPN ±100 mmH2O */

/* 압력 (Air Header) */
#define SENSOR_ID_PRESSURE_AIR_HEADER_SSCDJNN010BA 5    /* SSCDJNN010BA2A3  0 ~ 10 bar */
#define SENSOR_ID_PRESSURE_AIR_HEADER_XGZP6847_001MP 13 /* XGZP6847D001MPGPN -1 ~ 10 bar */

/* 압력 (Inlet) */
#define SENSOR_ID_PRESSURE_INLET_SSCDJNN100MD 7   /* SSCDJNN100MD2A3  ±1020 mmH2O */
#define SENSOR_ID_PRESSURE_INLET_XGZP6897_010K 15 /* XGZP6897D010KPDPN ±1000 mmH2O */

/* 압력 (Outlet) */
#define SENSOR_ID_PRESSURE_OUTLET_SSCDJNN100MD 6   /* SSCDJNN100MD2A3  ±1020 mmH2O */
#define SENSOR_ID_PRESSURE_OUTLET_XGZP6897_010K 14 /* XGZP6897D010KPDPN ±1000 mmH2O */

/* 가속도센서 */
#define SENSOR_ID_LSM6DSO_ACCEL_4G 10 
#define SENSOR_ID_LSM6DSO_ACCEL_16G 2

/* 속도센서*/
#define SENSOR_ID_LSM6DSO_VELO_4G 9
#define SENSOR_ID_LSM6DSO_VELO_16G 1


/** @struct sensor_sample_t
 * @brief 여러 센서 측정값을 통합하여 저장하는 구조체
 */
typedef struct
{
    int32_t p_value_x100;       /**< 압력 값 * 100 (단위는 센서별로 mmH2O 또는 bar) */
    int16_t temperature_c_x100; /**< 온도 값 * 100 (NTC 또는 센서 자체 온도) */
    uint8_t battery_pc;         /**< 배터리 잔량 (%) */
    int16_t acc_rms_x100[3];    /**< 가속도 RMS * 100 (선택적) */
    int16_t acc_peak_x100[3];   /**< 가속도 Peak * 100 (선택적) */
} sensor_sample_t;

/* IMU 통계 전역 공유 변수 */
extern lsm6dso_stats_t g_lsm6dso_stats;

/** @file sensors.h
 * @brief 센서 인터페이스 정의 파일
 */

/** @brief 센서 공통 초기화 (ADC 채널 준비 등).
 * @see Init_Sensor
 * @retval 0 성공
 * @retval 음수값 실패 시 Zephyr 에러 코드
 */
int Init_Sensor(void);

int32_t Get_Sensor_Value(uint8_t sensor_id);
int16_t Get_Imu_Value(uint8_t sensor_id);
/* Calibration controls */
int Set_Calibration(uint8_t sensor_id);
int Clear_Calibration(uint8_t sensor_id);
```

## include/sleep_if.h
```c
#pragma once
#include <stdint.h>

/**
 * @file sleep_if.h
 * @brief 저전력 Sleep/ Wake 제어 인터페이스 선언
 */

/**
 * @brief 시스템 인터페이스 전원 다운 후 지정 시간 후 복귀하도록 idle sleep 진입
 * @param seconds 대기 시간(초)
 * @retval 0 성공
 */
int Start_Sleep(uint32_t seconds);

/**
 * @brief Sleep 복귀 후 인터페이스(전원/I2C 핀 상태 등) 재기동
 * @retval 0 성공
 */
int Wakeup(void);
```

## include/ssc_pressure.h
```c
/**
 * @file ssc_pressure.h
 * @brief Honeywell SSC (SSCDJNNxxxx) I2C 압력 센서 드라이버.
 *
 * - 디지털 출력 압력 센서 (Honeywell TruStability SSC)
 * - 전달 함수(Transfer function): 14비트 카운트의 10% ~ 90% 범위 (0x0666 ~ 0x3999)
 * - 지원 모델:
 *   SSCDJNN010BA2A3 : 0 ~ 10 bar
 *   SSCDJNN100MD2A3 : ±1020 mmH2O
 *   SSCDJNN002ND2A3 : ±50.8 mmH2O
 */

#ifndef SSC_PRESSURE_H_
#define SSC_PRESSURE_H_

#include <zephyr/device.h>
#include <zephyr/drivers/i2c.h>
#include <stdint.h>

#ifdef __cplusplus
extern "C"
{
#endif

/** @brief Honeywell 디지털 전달 함수의 한계값 (14비트 카운트). */
#define SSC_OUTPUT_MIN_COUNTS 1638U  /**< 2^14의 10% (0x0666). */
#define SSC_OUTPUT_MAX_COUNTS 14745U /**< 2^14의 90% (0x3999). */

    /**
     * @brief SSC 압력 범위 타입
     *
     *      SSCDJNN010BA2A3 : 0 ~ 10 bar
     *      SSCDJNN100MD2A3 : ±1020 mmH2O
     *      SSCDJNN002ND2A3 : ±50.8 mmH2O
     */
    typedef enum
    {
        SSCDJNN010BA2A3 = 0, 
        SSCDJNN100MD2A3 = 1, 
        SSCDJNN002ND2A3 = 2
    } ssc_range_t;

    /** @brief 첫 번째 데이터 바이트에서 디코딩된 상태 비트. */
    typedef enum
    {
        SSC_STATUS_NORMAL = 0,    /**< 00: 정상 작동, 유효한 데이터. */
        SSC_STATUS_COMMAND = 1,   /**< 01: 명령 모드 (일반적인 사용에서는 발생하지 않아야 함). */
        SSC_STATUS_STALE = 2,     /**< 10: 오래된 데이터 (너무 빠르게 폴링함). */
        SSC_STATUS_DIAGNOSTIC = 3 /**< 11: 진단 오류. */
    } ssc_status_t;

    /**
     * @brief SSC 센서로부터 읽은 Raw 데이터 구조체.
     */
    typedef struct
    {
        uint16_t bridge;      /**< 14비트 브리지 (압력) 카운트. */
        uint16_t temperature; /**< 11비트 온도 카운트. */
        ssc_status_t status;  /**< 첫 번째 바이트에서 디코딩된 상태 비트. */
    } ssc_raw_data_t;

/** @name SSCDJNN010BA2A3 : 0 ~ 10 bar
 * @note bar 단위로 쓰고 싶으면 p_min=0, p_max=10 그대로 사용.
 * @{
 */
#define SSC_010BA2A3_P_MIN_BAR 0.0f
#define SSC_010BA2A3_P_MAX_BAR 10.0f
/** @} */

/** @name SSCDJNN100MD2A3 : ±1020 mmH2O
 * @note mmH2O 단위.
 * @{
 */
#define SSC_100MD2A3_P_MIN_MMH2O (-1020.0f)
#define SSC_100MD2A3_P_MAX_MMH2O (1020.0f)
/** @} */

/** @name SSCDJNN002ND2A3 : ±50.8 mmH2O
 * @note mmH2O 단위.
 * @{
 */
#define SSC_002ND2A3_P_MIN_MMH2O (-50.8f)
#define SSC_002ND2A3_P_MAX_MMH2O (50.8f)
    /** @} */

    /**
     * @brief 
     * 
     * @param i2c   I2C 장치 포인터.
     * @param addr   7비트 I2C 주소 (일반적으로 @ref SSC_I2C_ADDR_0X28).
     * @param[out] out 채울 Raw 데이터 구조체.
     *
     * @retval 0 성공 시.
     * @retval -EIO I2C 오류 또는 진단 오류 발생 시.
     * @retval -EAGAIN 오래된 데이터(stale data)일 때 (상태=SSC_STATUS_STALE).
     */
    int ssc_read_raw(const struct device *i2c, uint16_t addr, ssc_raw_data_t *out);

    /**
     * @brief 브리지 카운트를 센서 범위를 사용하여 압력으로 변환합니다.
     *
     * 전달 함수 (Honeywell Equation 2):
     * Pressure = ( (Output - Outputmin) * (Pmax - Pmin) /
     *        (Outputmax - Outputmin) ) + Pmin
     *
     * @param bridge Raw 14비트 브리지 카운트 (0 ~ 16383).
     * @param p_min  Outputmin에서의 압력 (단위: bar, mmH2O 등).
     * @param p_max  Outputmax에서의 압력 (p_min과 동일 단위).
     *
     * @return p_min/p_max와 동일한 단위의 압력 값.
     */
    float ssc_bridge_to_pressure(uint16_t bridge, float p_min, float p_max);

    /**
     * @brief 11비트 온도 카운트를 섭씨 온도로 변환합니다.
     *
     * 공식 (Honeywell Equation 3):
     * Temperature(°C) = (DigitalTemp / 2047) * 200 - 50
     *
     * @param temp_raw 11비트 Raw 온도 카운트.
     *
     * @return 섭씨 단위의 온도.
     */
    float ssc_temperature_to_c(uint16_t temp_raw);

    /**
     * @brief 상위 레벨 도우미 함수: 압력 및 온도를 읽고 변환합니다.
     *
     * @param i2c   I2C 장치 포인터.
     * @param addr   7비트 I2C 주소 (0x28).
     * @param p_min  범위 최솟값 (단위 별도 정의).
     * @param p_max  범위 최댓값.
     * @param[out] p  계산된 압력 값 (p_min/p_max와 동일 단위).
     * @param[out] t  섭씨 온도 (NULL 이면 무시).
     *
     * @retval 0 성공 시.
     * @retval -EIO I2C 오류 또는 진단 오류 발생 시.
     * @retval -EAGAIN 오래된 데이터(stale data)일 때.
     */
    int ssc_read_pressure(const struct device *i2c, uint16_t addr, float p_min, float p_max, float *p, float *t);


        /**
     * @brief SSC 센서 압력 측정 + 윈저라이즈드 평균 필터 적용
     *
     * - 동일 센서를 10번 연속 측정 후 윈저라이즈드 평균 함수로 노이즈 제거
     * - 온도는 마지막 측정 값 한 번만 사용 (필터 미적용)
     *
     * @param range_type   센서 압력 범위 타입
     * @param[out] pressure_pa   필터 적용된 압력 값 (단위: Pa, NULL 금지)
     * @param[out] temperature_c 마지막 측정 온도 값 (단위: ℃, NULL이면 무시)
     * @param apply_offset 보정 오프셋 적용 여부 (true: 보정값 적용, false: 미적용)
     *
     * @retval 0        성공
     * @retval -ENODEV  I2C 디바이스 미준비
     * @retval -EINVAL  파라미터 오류
     * @retval <0       I2C 통신 에러 (Zephyr errno)
     */
    int read_ssc_filtered(ssc_range_t range_type, float *pressure_pa, float *temperature_c, bool apply_offset);

    /**
     * @brief 현재 측정값이 0이 되도록 SSC 센서 오프셋을 저장합니다.
     *
     * - range_type별(010BA/bar, 100MD/mmH2O, 002ND/mmH2O)로 독립 저장
     * - 이후 read_ssc_filtered(..., apply_offset=true)에서 저장된 오프셋 적용
     *
     * @param range_type 센서 압력 범위 타입
     * @retval 0   성공
     * @retval <0  측정 오류 또는 I2C 에러
     */
    int set_calibration_ssc(ssc_range_t range_type);

    /**
     * @brief 저장된 SSC 보정 오프셋을 모두 0으로 초기화합니다.
     */
    void clear_calibration_ssc(void);

#ifdef __cplusplus
}
#endif

#endif /* SSC_PRESSURE_H_ */
```
